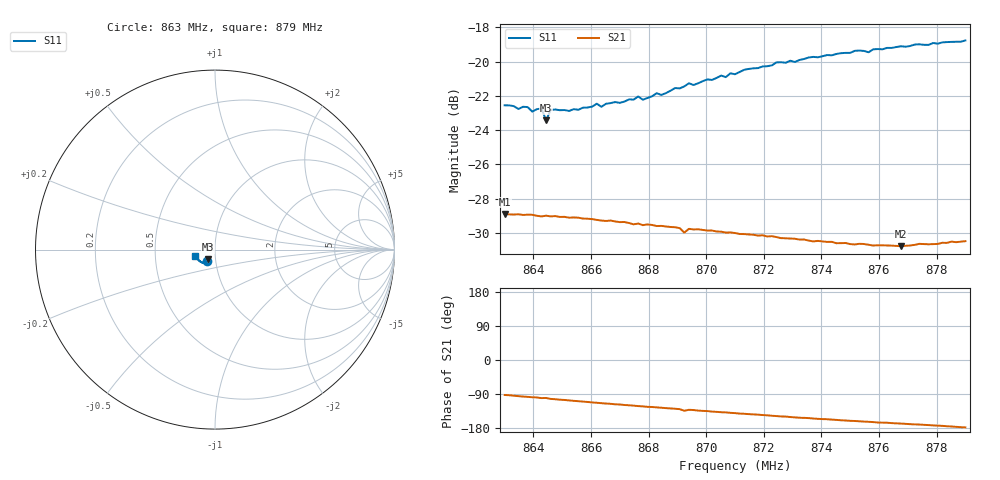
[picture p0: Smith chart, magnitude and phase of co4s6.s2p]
# HZ S RI R 50
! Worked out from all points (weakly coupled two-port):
!   101 points, 863 MHz to 879 MHz, reference 50 ohm
!   highest |S21| = -28.88 dB at 863 MHz (marker M1); lowest = -30.8 dB at 876.76 MHz (marker M2)
!   lowest |S11| = -23.4 dB at 864.44 MHz (marker M3), VSWR 1.14, Z = 45.9 - j5.05 ohm
!   |S11| at or under -10 dB: start of sweep to end of sweep
!   S12 and S22 are empty: the file has one direction only
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8.63e8  -0.0432 -0.0608  -0.00143 -0.0359  0 0  0 0
8.6348e8  -0.0406 -0.0604  -0.00337 -0.0357  0 0  0 0
8.638e8  -0.0427 -0.06  -0.00454 -0.0355  0 0  0 0
8.6396e8  -0.0401 -0.0592  -0.00518 -0.0354  0 0  0 0
8.6428e8  -0.0393 -0.0615  -0.00645 -0.0348  0 0  0 0
8.6444e8  -0.0394 -0.0548  -0.00629 -0.035  0 0  0 0
8.646e8  -0.039 -0.0608  -0.00775 -0.0345  0 0  0 0
8.6572e8  -0.0384 -0.0625  -0.0118 -0.0328  0 0  0 0
8.6764e8  -0.0407 -0.0679  -0.0177 -0.0287  0 0  0 0
8.678e8  -0.0403 -0.0661  -0.0179 -0.0281  0 0  0 0
8.6828e8  -0.041 -0.0697  -0.019 -0.0271  0 0  0 0
8.6844e8  -0.0409 -0.0687  -0.0195 -0.0269  0 0  0 0
8.6908e8  -0.0447 -0.0706  -0.0209 -0.0251  0 0  0 0
8.6924e8  -0.0464 -0.0709  -0.022 -0.0228  0 0  0 0
8.694e8  -0.0456 -0.0734  -0.0215 -0.0244  0 0  0 0
8.6956e8  -0.0464 -0.0718  -0.0217 -0.024  0 0  0 0
8.71e8  -0.054 -0.0744  -0.0243 -0.0203  0 0  0 0
8.7244e8  -0.0664 -0.0741  -0.0261 -0.0163  0 0  0 0
8.7372e8  -0.0744 -0.0716  -0.027 -0.0129  0 0  0 0
8.7644e8  -0.0943 -0.0559  -0.0283 -0.00678  0 0  0 0
8.7676e8  -0.097 -0.0536  -0.0283 -0.00613  0 0  0 0
8.79e8  -0.11 -0.0344  -0.0299 -0.00109  0 0  0 0
